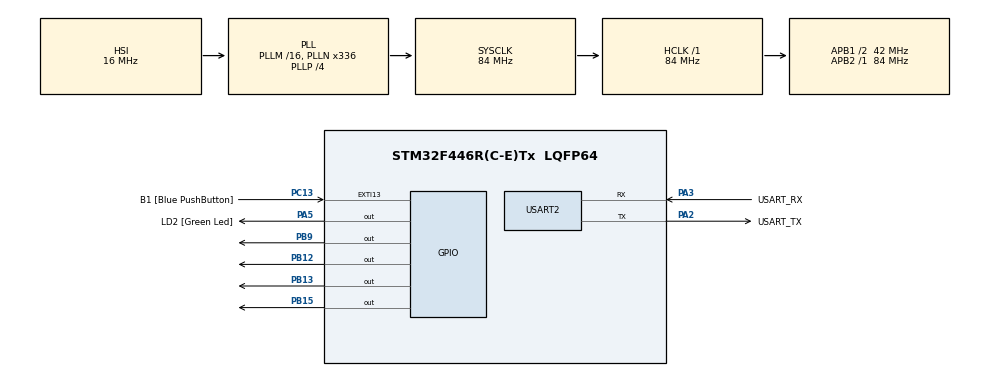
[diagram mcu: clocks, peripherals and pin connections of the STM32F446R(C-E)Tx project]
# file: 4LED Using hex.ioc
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Mcu.Family=STM32F4
Mcu.Name=STM32F446R(C-E)Tx
Mcu.Package=LQFP64
NVIC.PriorityGroup=NVIC_PRIORITYGROUP_0
PA13.GPIO_Label=TMS
PA13.Mode=Serial_Wire
PA13.Signal=SYS_JTMS-SWDIO
PA14.GPIO_Label=TCK
PA14.Mode=Serial_Wire
PA14.Signal=SYS_JTCK-SWCLK
PA2.GPIO_Label=USART_TX
PA2.Mode=Asynchronous
PA2.Signal=USART2_TX
PA3.GPIO_Label=USART_RX
PA3.Mode=Asynchronous
PA3.Signal=USART2_RX
PA5.GPIO_Label=LD2 [Green Led]
PA5.Signal=GPIO_Output
PB12.Signal=GPIO_Output
PB13.Signal=GPIO_Output
PB15.Signal=GPIO_Output
PB3.GPIO_Label=SWO
PB3.Signal=SYS_JTDO-SWO
PB9.Signal=GPIO_Output
PC13.GPIO_Label=B1 [Blue PushButton]
PC13.GPIO_ModeDefaultEXTI=GPIO_MODE_IT_FALLING
PC13.Signal=GPXTI13
PC14-OSC32_IN.Mode=LSE-External-Oscillator
PC14-OSC32_IN.Signal=RCC_OSC32_IN
PC15-OSC32_OUT.Mode=LSE-External-Oscillator
PC15-OSC32_OUT.Signal=RCC_OSC32_OUT
PH0-OSC_IN.Mode=HSE-External-Oscillator
PH0-OSC_IN.Signal=RCC_OSC_IN
PH1-OSC_OUT.Mode=HSE-External-Oscillator
PH1-OSC_OUT.Signal=RCC_OSC_OUT
ProjectManager.HeapSize=0x200
ProjectManager.StackSize=0x400
ProjectManager.TargetToolchain=STM32CubeIDE
RCC.48MHZClocksFreq_Value=84000000
RCC.AHBFreq_Value=84000000
RCC.APB1CLKDivider=RCC_HCLK_DIV2
RCC.APB1Freq_Value=42000000
RCC.APB1TimFreq_Value=84000000
RCC.APB2Freq_Value=84000000
RCC.APB2TimFreq_Value=84000000
RCC.CortexFreq_Value=84000000
RCC.FLatency-AdvancedSettings=FLASH_LATENCY_2
RCC.HCLKFreq_Value=84000000
RCC.HSE_VALUE=8000000
RCC.HSI_VALUE=16000000
RCC.PLLN=336
RCC.PLLP=RCC_PLLP_DIV4
RCC.SYSCLKFreq_VALUE=84000000
RCC.SYSCLKSource=RCC_SYSCLKSOURCE_PLLCLK
RCC.USBFreq_Value=168000000
RCC.VCOOutputFreq_Value=336000000
USART2.VirtualMode=VM_ASYNC
board=NUCLEO-F446RE

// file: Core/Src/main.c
/* USER CODE BEGIN Header */
/**
  ******************************************************************************
  * @file           : main.c
  * @brief          : Main program body
  ******************************************************************************
  * @attention
  *
  * Copyright (c) 2024 STMicroelectronics.
  * All rights reserved.
  *
  * This software is licensed under terms that can be found in the LICENSE file
  * in the root directory of this software component.
  * If no LICENSE file comes with this software, it is provided AS-IS.
  *
  ******************************************************************************
  */
/* USER CODE END Header */
#include "main.h"

UART_HandleTypeDef huart2;

void SystemClock_Config(void);
static void MX_GPIO_Init(void);
static void MX_USART2_UART_Init(void);

int main(void)
{

  /* MCU Configuration--------------------------------------------------------*/

  /* Reset of all peripherals, Initializes the Flash interface and the Systick. */
  HAL_Init();

  /* Configure the system clock */
  SystemClock_Config();

  /* Initialize all configured peripherals */
  MX_GPIO_Init();
  MX_USART2_UART_Init();

  /* Infinite loop */
  /* USER CODE BEGIN WHILE */
  while (1)
  {HAL_GPIO_WritePin(GPIOB,512,1);
  HAL_Delay(100);
  HAL_GPIO_WritePin(GPIOB,512,0);
  HAL_Delay(100);
  HAL_GPIO_WritePin(GPIOB,10000,1);
  HAL_Delay(100);
  HAL_GPIO_WritePin(GPIOB,10000,0);
  HAL_Delay(100);
  HAL_GPIO_WritePin(GPIOB, 20000,1);
  HAL_Delay(100);
  HAL_GPIO_WritePin(GPIOB,20000,0);
  HAL_Delay(100);
  HAL_GPIO_WritePin(GPIOB,100000,1);
  HAL_Delay(100);
  HAL_GPIO_WritePin(GPIOB,100000,0);
  HAL_Delay(100);

    /* USER CODE END WHILE */

  }
}

void SystemClock_Config(void)
{
  RCC_OscInitTypeDef RCC_OscInitStruct = {0};
  RCC_ClkInitTypeDef RCC_ClkInitStruct = {0};

  /** Configure the main internal regulator output voltage
  */
  __HAL_RCC_PWR_CLK_ENABLE();
  __HAL_PWR_VOLTAGESCALING_CONFIG(PWR_REGULATOR_VOLTAGE_SCALE3);

  /** Initializes the RCC Oscillators according to the specified parameters
  * in the RCC_OscInitTypeDef structure.
  */
  RCC_OscInitStruct.OscillatorType = RCC_OSCILLATORTYPE_HSI;
  RCC_OscInitStruct.HSIState = RCC_HSI_ON;
  RCC_OscInitStruct.HSICalibrationValue = RCC_HSICALIBRATION_DEFAULT;
  RCC_OscInitStruct.PLL.PLLState = RCC_PLL_ON;
  RCC_OscInitStruct.PLL.PLLSource = RCC_PLLSOURCE_HSI;
  RCC_OscInitStruct.PLL.PLLM = 16;
  RCC_OscInitStruct.PLL.PLLN = 336;
  RCC_OscInitStruct.PLL.PLLP = RCC_PLLP_DIV4;
  RCC_OscInitStruct.PLL.PLLQ = 2;
  RCC_OscInitStruct.PLL.PLLR = 2;
  if (HAL_RCC_OscConfig(&RCC_OscInitStruct) != HAL_OK)
  {
    Error_Handler();
  }

  /** Initializes the CPU, AHB and APB buses clocks
  */
  RCC_ClkInitStruct.ClockType = RCC_CLOCKTYPE_HCLK|RCC_CLOCKTYPE_SYSCLK
                              |RCC_CLOCKTYPE_PCLK1|RCC_CLOCKTYPE_PCLK2;
  RCC_ClkInitStruct.SYSCLKSource = RCC_SYSCLKSOURCE_PLLCLK;
  RCC_ClkInitStruct.AHBCLKDivider = RCC_SYSCLK_DIV1;
  RCC_ClkInitStruct.APB1CLKDivider = RCC_HCLK_DIV2;
  RCC_ClkInitStruct.APB2CLKDivider = RCC_HCLK_DIV1;

  if (HAL_RCC_ClockConfig(&RCC_ClkInitStruct, FLASH_LATENCY_2) != HAL_OK)
  {
    Error_Handler();
  }
}

static void MX_USART2_UART_Init(void)
{

  huart2.Instance = USART2;
  huart2.Init.BaudRate = 115200;
  huart2.Init.WordLength = UART_WORDLENGTH_8B;
  huart2.Init.StopBits = UART_STOPBITS_1;
  huart2.Init.Parity = UART_PARITY_NONE;
  huart2.Init.Mode = UART_MODE_TX_RX;
  huart2.Init.HwFlowCtl = UART_HWCONTROL_NONE;
  huart2.Init.OverSampling = UART_OVERSAMPLING_16;
  if (HAL_UART_Init(&huart2) != HAL_OK)
  {
    Error_Handler();
  }

}

static void MX_GPIO_Init(void)
{
  GPIO_InitTypeDef GPIO_InitStruct = {0};

  /* GPIO Ports Clock Enable */
  __HAL_RCC_GPIOC_CLK_ENABLE();
  __HAL_RCC_GPIOH_CLK_ENABLE();
  __HAL_RCC_GPIOA_CLK_ENABLE();
  __HAL_RCC_GPIOB_CLK_ENABLE();

  /*Configure GPIO pin Output Level */
  HAL_GPIO_WritePin(LD2_GPIO_Port, LD2_Pin, GPIO_PIN_RESET);

  /*Configure GPIO pin Output Level */
  HAL_GPIO_WritePin(GPIOB, GPIO_PIN_12|GPIO_PIN_13|GPIO_PIN_15|GPIO_PIN_9, GPIO_PIN_RESET);

  /*Configure GPIO pin : B1_Pin */
  GPIO_InitStruct.Pin = B1_Pin;
  GPIO_InitStruct.Mode = GPIO_MODE_IT_FALLING;
  GPIO_InitStruct.Pull = GPIO_NOPULL;
  HAL_GPIO_Init(B1_GPIO_Port, &GPIO_InitStruct);

  /*Configure GPIO pin : LD2_Pin */
  GPIO_InitStruct.Pin = LD2_Pin;
  GPIO_InitStruct.Mode = GPIO_MODE_OUTPUT_PP;
  GPIO_InitStruct.Pull = GPIO_NOPULL;
  GPIO_InitStruct.Speed = GPIO_SPEED_FREQ_LOW;
  HAL_GPIO_Init(LD2_GPIO_Port, &GPIO_InitStruct);

  /*Configure GPIO pins : PB12 PB13 PB15 PB9 */
  GPIO_InitStruct.Pin = GPIO_PIN_12|GPIO_PIN_13|GPIO_PIN_15|GPIO_PIN_9;
  GPIO_InitStruct.Mode = GPIO_MODE_OUTPUT_PP;
  GPIO_InitStruct.Pull = GPIO_NOPULL;
  GPIO_InitStruct.Speed = GPIO_SPEED_FREQ_LOW;
  HAL_GPIO_Init(GPIOB, &GPIO_InitStruct);

}

void Error_Handler(void)
{
  __disable_irq();
  while (1)
  {
  }
}
